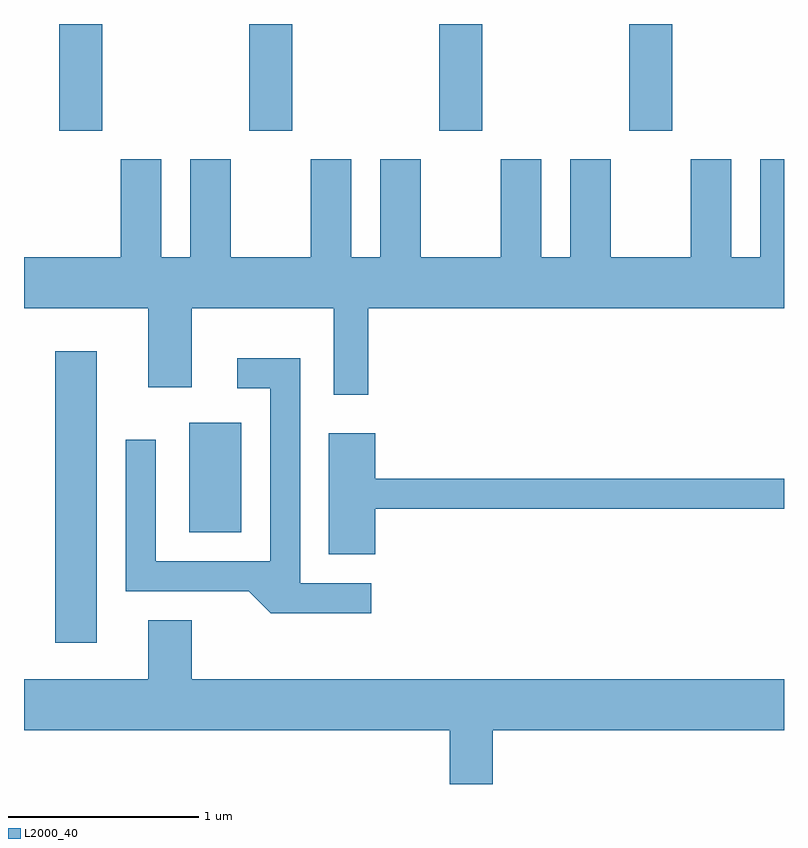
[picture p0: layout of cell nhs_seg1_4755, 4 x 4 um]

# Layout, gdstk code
import gdstk
lib = gdstk.Library(unit=1e-6, precision=1e-09)
def R(c, l, rs):  # rectangles x0, y0, x1, y1
    for r in rs: c.add(gdstk.rectangle(r[:2], r[2:], *l))
def A(c, l, x, y, w, h, nx, ny, dx, dy):  # array of equal rectangles
    R(c, l, [(x+i*dx, y+j*dy, x+i*dx+w, y+j*dy+h) for i in range(nx) for j in range(ny)])
def P(c, l, *ps):  # polygons
    for p in ps: c.add(gdstk.Polygon(p, *l))
L2000_40 = (2000, 40)

nhs_seg1_4755 = lib.new_cell('nhs_seg1_4755')
A(nhs_seg1_4755, L2000_40, 327.796, 927.151, 0.228, 0.561, 4, 1, 1, 0)
R(nhs_seg1_4755, L2000_40, [(327.776,924.456,327.994,925.989), (328.481,925.036,328.754,925.614)])
P(nhs_seg1_4755, L2000_40, [(329.424,926.216),(331.611,926.216),(331.611,926.999),(331.486,926.999),(331.486,926.484),(331.334,926.484),(331.334,926.999),(331.121,926.999),(331.121,926.484),(330.699,926.484),(330.699,926.999),(330.486,926.999),(330.486,926.484),(330.334,926.484),(330.334,926.999),(330.121,926.999),(330.121,926.484),(329.699,926.484),(329.699,926.999),(329.486,926.999),(329.486,926.484),(329.334,926.484),(329.334,926.999),(329.121,926.999),(329.121,926.484),(328.699,926.484),(328.699,926.999),(328.486,926.999),(328.486,926.484),(328.334,926.484),(328.334,926.999),(328.121,926.999),(328.121,926.484),(327.611,926.484),(327.611,926.216),(328.266,926.216),(328.266,925.801),(328.494,925.801),(328.494,926.216),(329.241,926.216),(329.241,925.761),(329.424,925.761)],
  [(329.438,924.769),(329.064,924.769),(329.064,925.954),(328.733,925.954),(328.733,925.796),(328.906,925.796),(328.906,924.884),(328.304,924.884),(328.304,925.523),(328.146,925.523),(328.146,924.726),(328.794,924.726),(328.909,924.611),(329.438,924.611)],
  [(329.459,925.161),(331.611,925.161),(331.611,925.319),(329.459,925.319),(329.459,925.559),(329.216,925.559),(329.216,924.921),(329.459,924.921)],
  [(330.079,923.996),(331.611,923.996),(331.611,924.264),(328.494,924.264),(328.494,924.574),(328.266,924.574),(328.266,924.264),(327.611,924.264),(327.611,923.996),(329.851,923.996),(329.851,923.712),(330.079,923.712)])

lib.write_gds('nhs_seg1_4755.gds')
